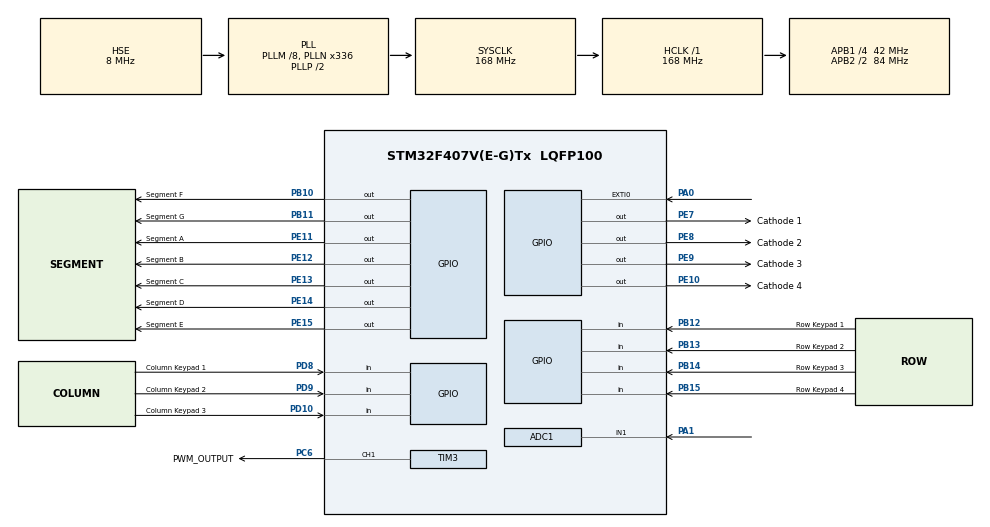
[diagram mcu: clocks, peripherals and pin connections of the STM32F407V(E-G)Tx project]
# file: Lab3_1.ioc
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ADC1.Channel-0\#ChannelRegularConversion=ADC_CHANNEL_1
ADC1.ExternalTrigConv=ADC_EXTERNALTRIGCONV_T3_TRGO
ADC1.ExternalTrigConvEdge=ADC_EXTERNALTRIGCONVEDGE_RISINGFALLING
ADC1.NbrOfConversionFlag=1
ADC1.Resolution=ADC_RESOLUTION_8B
ADC1.master=1
Mcu.Family=STM32F4
Mcu.Name=STM32F407V(E-G)Tx
Mcu.Package=LQFP100
NVIC.ADC_IRQn=true\:0\:0\:false\:false\:true\:true
NVIC.EXTI0_IRQn=true\:0\:0\:false\:false\:true\:true
NVIC.PriorityGroup=NVIC_PRIORITYGROUP_0
NVIC.TIM3_IRQn=true\:0\:0\:false\:false\:true\:true
PA0-WKUP.GPIO_ModeDefaultEXTI=GPIO_MODE_IT_RISING
PA0-WKUP.GPIO_PuPd=GPIO_NOPULL
PA0-WKUP.Signal=GPXTI0
PA1.Signal=ADCx_IN1
PA10.GPIO_Mode=GPIO_MODE_AF_PP
PA10.GPIO_PuPd=GPIO_NOPULL
PA10.GPIO_Speed=GPIO_SPEED_FREQ_VERY_HIGH
PA10.Signal=USB_OTG_FS_ID
PA11.GPIO_Mode=GPIO_MODE_AF_PP
PA11.GPIO_PuPd=GPIO_NOPULL
PA11.GPIO_Speed=GPIO_SPEED_FREQ_VERY_HIGH
PA11.Signal=USB_OTG_FS_DM
PA12.GPIO_Mode=GPIO_MODE_AF_PP
PA12.GPIO_PuPd=GPIO_NOPULL
PA12.GPIO_Speed=GPIO_SPEED_FREQ_VERY_HIGH
PA12.Signal=USB_OTG_FS_DP
PA13.Mode=Serial_Wire
PA13.Signal=SYS_JTMS-SWDIO
PA14.Mode=Serial_Wire
PA14.Signal=SYS_JTCK-SWCLK
PA4.GPIO_Mode=GPIO_MODE_AF_PP
PA4.GPIO_PuPd=GPIO_NOPULL
PA4.GPIO_Speed=GPIO_SPEED_FREQ_LOW
PA4.Signal=I2S3_WS
PA5.GPIO_Mode=GPIO_MODE_AF_PP
PA5.GPIO_PuPd=GPIO_NOPULL
PA5.GPIO_Speed=GPIO_SPEED_FREQ_VERY_HIGH
PA5.Signal=SPI1_SCK
PA6.GPIO_Mode=GPIO_MODE_AF_PP
PA6.GPIO_PuPd=GPIO_NOPULL
PA6.GPIO_Speed=GPIO_SPEED_FREQ_VERY_HIGH
PA6.Signal=SPI1_MISO
PA7.GPIO_Mode=GPIO_MODE_AF_PP
PA7.GPIO_PuPd=GPIO_NOPULL
PA7.GPIO_Speed=GPIO_SPEED_FREQ_VERY_HIGH
PA7.Signal=SPI1_MOSI
PA9.GPIO_Mode=GPIO_MODE_INPUT
PA9.GPIO_PuPd=GPIO_NOPULL
PA9.Signal=USB_OTG_FS_VBUS
PB10.GPIO_Label=Segment F
PB10.Signal=GPIO_Output
PB11.GPIO_Label=Segment G
PB11.Signal=GPIO_Output
PB12.GPIO_Label=Row Keypad 1
PB12.Signal=GPIO_Input
PB13.GPIO_Label=Row Keypad 2
PB13.Signal=GPIO_Input
PB14.GPIO_Label=Row Keypad 3
PB14.Signal=GPIO_Input
PB15.GPIO_Label=Row Keypad 4
PB15.Signal=GPIO_Input
PB3.Signal=SYS_JTDO-SWO
PB6.GPIO_Mode=GPIO_MODE_AF_OD
PB6.GPIO_PuPd=GPIO_NOPULL
PB6.GPIO_PuPdOD=GPIO_PULLUP
PB6.GPIO_Speed=GPIO_SPEED_FREQ_VERY_HIGH
PB6.Signal=I2C1_SCL
PB9.GPIO_Mode=GPIO_MODE_AF_OD
PB9.GPIO_PuPd=GPIO_NOPULL
PB9.GPIO_PuPdOD=GPIO_PULLUP
PB9.GPIO_Speed=GPIO_SPEED_FREQ_VERY_HIGH
PB9.Signal=I2C1_SDA
PC10.GPIO_Mode=GPIO_MODE_AF_PP
PC10.GPIO_PuPd=GPIO_NOPULL
PC10.GPIO_Speed=GPIO_SPEED_FREQ_LOW
PC10.Signal=I2S3_CK
PC12.GPIO_Mode=GPIO_MODE_AF_PP
PC12.GPIO_PuPd=GPIO_NOPULL
PC12.GPIO_Speed=GPIO_SPEED_FREQ_LOW
PC12.Signal=I2S3_SD
PC14-OSC32_IN.Signal=RCC_OSC32_IN
PC15-OSC32_OUT.Signal=RCC_OSC32_OUT
PC3.GPIO_Mode=GPIO_MODE_AF_PP
PC3.GPIO_PuPd=GPIO_NOPULL
PC3.GPIO_Speed=GPIO_SPEED_FREQ_LOW
PC3.Signal=I2S2_SD
PC6.GPIO_Label=PWM_OUTPUT
PC6.Signal=S_TIM3_CH1
PC7.GPIO_Mode=GPIO_MODE_AF_PP
PC7.GPIO_PuPd=GPIO_NOPULL
PC7.GPIO_Speed=GPIO_SPEED_FREQ_LOW
PC7.Signal=I2S3_MCK
PD10.GPIO_Label=Column Keypad 3
PD10.Signal=GPIO_Input
PD8.GPIO_Label=Column Keypad 1
PD8.Signal=GPIO_Input
PD9.GPIO_Label=Column Keypad 2
PD9.Signal=GPIO_Input
PE10.GPIO_Label=Cathode 4
PE10.Signal=GPIO_Output
PE11.GPIO_Label=Segment A
PE11.Signal=GPIO_Output
PE12.GPIO_Label=Segment B
PE12.Signal=GPIO_Output
PE13.GPIO_Label=Segment C
PE13.Signal=GPIO_Output
PE14.GPIO_Label=Segment D
PE14.Signal=GPIO_Output
PE15.GPIO_Label=Segment E
PE15.Signal=GPIO_Output
PE7.GPIO_Label=Cathode 1
PE7.Signal=GPIO_Output
PE8.GPIO_Label=Cathode 2
PE8.Signal=GPIO_Output
PE9.GPIO_Label=Cathode 3
PE9.Signal=GPIO_Output
PH0-OSC_IN.Mode=HSE-External-Oscillator
PH0-OSC_IN.Signal=RCC_OSC_IN
PH1-OSC_OUT.Mode=HSE-External-Oscillator
PH1-OSC_OUT.Signal=RCC_OSC_OUT
ProjectManager.HeapSize=0x200
ProjectManager.StackSize=0x400
ProjectManager.TargetToolchain=MDK-ARM V5
RCC.48MHZClocksFreq_Value=48000000
RCC.AHBFreq_Value=168000000
RCC.APB1CLKDivider=RCC_HCLK_DIV4
RCC.APB1Freq_Value=42000000
RCC.APB1TimFreq_Value=84000000
RCC.APB2CLKDivider=RCC_HCLK_DIV2
RCC.APB2Freq_Value=84000000
RCC.APB2TimFreq_Value=168000000
RCC.CortexFreq_Value=168000000
RCC.HCLKFreq_Value=168000000
RCC.HSE_VALUE=8000000
RCC.HSI_VALUE=16000000
RCC.LSE_VALUE=32768
RCC.PLLM=8
RCC.PLLN=336
RCC.PLLQ=7
RCC.PLLSourceVirtual=RCC_PLLSOURCE_HSE
RCC.SYSCLKFreq_VALUE=168000000
RCC.SYSCLKSource=RCC_SYSCLKSOURCE_PLLCLK
RCC.VCOOutputFreq_Value=336000000
SH.ADCx_IN1.0=ADC1_IN1,IN1
SH.S_TIM3_CH1.0=TIM3_CH1,PWM Generation1 CH1
TIM3.Channel-Output\ Compare2\ No\ Output=TIM_CHANNEL_2
TIM3.Channel-PWM\ Generation1\ CH1=TIM_CHANNEL_1
TIM3.OCMode_2=TIM_OCMODE_ACTIVE
TIM3.Prescaler=0
TIM3.TIM_MasterOutputTrigger=TIM_TRGO_UPDATE
VP_TIM3_VS_ClockSourceINT.Mode=Internal
VP_TIM3_VS_no_output2.Mode=Output Compare2 No Output
board=STM32F4DISCOVERY

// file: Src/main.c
/**
  ******************************************************************************
  * @file           : main.c
  * @brief          : Main program body
  ******************************************************************************
  ** This notice applies to any and all portions of this file
  * that are not between comment pairs USER CODE BEGIN and
  * USER CODE END. Other portions of this file, whether
  * inserted by the user or by software development tools
  * are owned by their respective copyright owners.
  *
  * COPYRIGHT(c) 2018 STMicroelectronics
  *
  * Redistribution and use in source and binary forms, with or without modification,
  * are permitted provided that the following conditions are met:
  *   1. Redistributions of source code must retain the above copyright notice,
  *      this list of conditions and the following disclaimer.
  *   2. Redistributions in binary form must reproduce the above copyright notice,
  *      this list of conditions and the following disclaimer in the documentation
  *      and/or other materials provided with the distribution.
  *   3. Neither the name of STMicroelectronics nor the names of its contributors
  *      may be used to endorse or promote products derived from this software
  *      without specific prior written permission.
  *
  * THIS SOFTWARE IS PROVIDED BY THE COPYRIGHT HOLDERS AND CONTRIBUTORS "AS IS"
  * AND ANY EXPRESS OR IMPLIED WARRANTIES, INCLUDING, BUT NOT LIMITED TO, THE
  * IMPLIED WARRANTIES OF MERCHANTABILITY AND FITNESS FOR A PARTICULAR PURPOSE ARE
  * DISCLAIMED. IN NO EVENT SHALL THE COPYRIGHT HOLDER OR CONTRIBUTORS BE LIABLE
  * FOR ANY DIRECT, INDIRECT, INCIDENTAL, SPECIAL, EXEMPLARY, OR CONSEQUENTIAL
  * DAMAGES (INCLUDING, BUT NOT LIMITED TO, PROCUREMENT OF SUBSTITUTE GOODS OR
  * SERVICES; LOSS OF USE, DATA, OR PROFITS; OR BUSINESS INTERRUPTION) HOWEVER
  * CAUSED AND ON ANY THEORY OF LIABILITY, WHETHER IN CONTRACT, STRICT LIABILITY,
  * OR TORT (INCLUDING NEGLIGENCE OR OTHERWISE) ARISING IN ANY WAY OUT OF THE USE
  * OF THIS SOFTWARE, EVEN IF ADVISED OF THE POSSIBILITY OF SUCH DAMAGE.
  *
  ******************************************************************************
  */
#include "main.h"
#include "stm32f4xx_hal.h"
#include "math.h"

ADC_HandleTypeDef hadc1;
TIM_HandleTypeDef htim3;

/* USER CODE BEGIN PV */
/* Private variables ---------------------------------------------------------*/
uint32_t adcConversion = 0;
int buttonPressed;
int buttonPressedOld;
int keypadMatrix[3][4] = {{1,4,7,10}, {2,5,8,0},{3,6,9,11}}; //10 = star, 11 = pound
int state; //state for keypad
float mathInput;
float mathOutput;
int x[5] = {0};
float rms_value = 0;
float filterOutput;
int keyReadTrigger; //timer for debouncing for keypad
int displaySwitchTrigger; //triggers the switch between LEDs
int ledPosition;
int modeFlag;
int outputDigits[4];
int keyValid = 0; //flag for normal key
int sleepKey = 0; //flag for putting keypad to sleep or waking up
int restartKey = 0; //flag for restarting keypad
int holdCount = 0; //timer for restarting keypad
int sleepCount = 0; //timer for putting keypad to sleep or waking up
float controllerTarget;
float error;
int pulseWidth;

/* USER CODE END PV */

void SystemClock_Config(void);
static void MX_GPIO_Init(void);
static void MX_ADC1_Init(void);
static void MX_TIM3_Init(void);

void HAL_TIM_MspPostInit(TIM_HandleTypeDef *htim);

/* USER CODE BEGIN PFP */
/* Private function prototypes -----------------------------------------------*/
void pwmSetValue(uint16_t pulseValue);
int getKeypadValue(void);
void valueParse(float mathOutput);
void c_math(float input);
void FIR_C(uint32_t input, float* filterOutput);
void pwmController(float input, float output);

/* USER CODE END PFP */

int main(void)
{

  /* MCU Configuration----------------------------------------------------------*/

  /* Reset of all peripherals, Initializes the Flash interface and the Systick. */
  HAL_Init();

  /* Configure the system clock */
  SystemClock_Config();

  /* Initialize all configured peripherals */
  MX_GPIO_Init();
  MX_ADC1_Init();
  MX_TIM3_Init();
  /* USER CODE BEGIN 2 */

	/* Start timer for PWM generation */
	HAL_TIM_PWM_Start(&htim3, TIM_CHANNEL_1);
	/* Start ADC interrupt triggered by timer */
	HAL_ADC_Start_IT(&hadc1);

  /* USER CODE END 2 */
	state = 1;

  /* Infinite loop */
  /* USER CODE BEGIN WHILE */
  while (1)
  {
		switch(state) {
			case 0: //sleep mode
				//HAL_TIM_PWM_Stop(&htim3,TIM_CHANNEL_1);
				modeFlag = 0;
				/* if pound held and sleep flag is on, turn on keypad */
				if(getKeypadValue() == 11 && keyValid && sleepKey) {
					sleepKey = 0;
					keyValid = 0;
					state = 1;
					//HAL_TIM_PWM_Start(&htim3,TIM_CHANNEL_1);
				}
				break;
			case 1: //awake (reset) mode
				modeFlag = 1;
				//reset all LEDs to 0
				outputDigits[0] =0;
				outputDigits[1] =0;
				outputDigits[2] =0;
				outputDigits[3] =0;
				/* if a key between 0-9 has been pressed, move to next state (first digit inputted) */
				if(getKeypadValue()>-1 && getKeypadValue() < 10 && keyValid) {
					buttonPressed = getKeypadValue();
					keyValid = 0;
					state = 2;
				}
				/* if star held and sleep flag is on, turn off keypad */
				else if(getKeypadValue() == 10 && keyValid && sleepKey) {
					sleepKey = 0;
					keyValid = 0;
					state = 0;
				}
				break;
			case 2: //first digit
				modeFlag = 1;
				/* input button pressed from state 1 into last digit */
				outputDigits[0] =0;
				outputDigits[1] =0;
				outputDigits[2] =0;
				outputDigits[3] = buttonPressed;
				/* if star held and sleep flag is on, turn off keypad */
				if(getKeypadValue() == 10 && keyValid && sleepKey) {
					sleepKey = 0;
					keyValid = 0;
					state = 0;
				}
				/* if star held and restart flag is on, go to state 1 to reset keypad */
				else if(getKeypadValue() == 10 && keyValid && restartKey) {
					restartKey = 0;
					keyValid = 0;
					state = 1;
				}
				/* if star pressed, delete inputted value by returning to reset state */
				else if(getKeypadValue() == 10 && keyValid) {
					keyValid = 0;
					state = 1;
				}
				/* if a key between 0-9 has been pressed, move to next state (second digit inputted) */
				else if(getKeypadValue()>-1 && getKeypadValue() < 10 && keyValid) {
					buttonPressedOld = buttonPressed;
					buttonPressed = getKeypadValue();
					keyValid = 0;
					state = 3;
				}
				break;
			case 3: //second digit
				modeFlag = 1;
				/* input button pressed from state 1 into third digit and input button from state 2 into last digit */
				outputDigits[0] =0;
				outputDigits[1] =0;
				outputDigits[2] = buttonPressedOld;
				outputDigits[3] = buttonPressed;
				/* if star held and sleep flag is on, turn off keypad */
				if(getKeypadValue() == 10 && keyValid && sleepKey) {
					keyValid = 0;
					sleepKey = 0;
					state = 0;
				}
				/* if star held and restart flag is on, reset keypad by moving to state 1*/
				else if(getKeypadValue() == 10 && keyValid && restartKey) {
					keyValid = 0;
					restartKey = 0;
					state = 1;
				}
				/* if star pressed, delete inputted value by returning to reset state */
				else if(getKeypadValue() == 10 && keyValid) {
					buttonPressed = buttonPressedOld;
					keyValid = 0;
					state = 2;
				}
				/* if pound pressed, move to state 4 to submit value */
				else if(getKeypadValue() == 11 && keyValid) {
					keyValid = 0;
					state = 4;
				}
				break;
			case 4:
				/* submit user inputte value to controller */
				mathInput = (float) (outputDigits[2] + (outputDigits[3]/10.0));
				pwmController(mathInput, mathOutput);
				/* if star held and sleep flag is on, turn off keypad */
				if(getKeypadValue() == 10 && keyValid && sleepKey) {
					keyValid = 0;
					sleepKey = 0;
					state = 0;
				}
				/* if star held and restart flag is on, reset keypad by moving to state 1*/
				else if(getKeypadValue() == 10 && keyValid && restartKey) {
					keyValid = 0;
					sleepKey = 0;
					state = 1;
				}
				break;
			}

  /* USER CODE END WHILE */

	}

}

void SystemClock_Config(void)
{

  RCC_OscInitTypeDef RCC_OscInitStruct;
  RCC_ClkInitTypeDef RCC_ClkInitStruct;

    /**Configure the main internal regulator output voltage
    */
  __HAL_RCC_PWR_CLK_ENABLE();

  __HAL_PWR_VOLTAGESCALING_CONFIG(PWR_REGULATOR_VOLTAGE_SCALE1);

    /**Initializes the CPU, AHB and APB busses clocks
    */
  RCC_OscInitStruct.OscillatorType = RCC_OSCILLATORTYPE_HSE;
  RCC_OscInitStruct.HSEState = RCC_HSE_ON;
  RCC_OscInitStruct.PLL.PLLState = RCC_PLL_ON;
  RCC_OscInitStruct.PLL.PLLSource = RCC_PLLSOURCE_HSE;
  RCC_OscInitStruct.PLL.PLLM = 8;
  RCC_OscInitStruct.PLL.PLLN = 336;
  RCC_OscInitStruct.PLL.PLLP = RCC_PLLP_DIV2;
  RCC_OscInitStruct.PLL.PLLQ = 7;
  if (HAL_RCC_OscConfig(&RCC_OscInitStruct) != HAL_OK)
  {
    _Error_Handler(__FILE__, __LINE__);
  }

    /**Initializes the CPU, AHB and APB busses clocks
    */
  RCC_ClkInitStruct.ClockType = RCC_CLOCKTYPE_HCLK|RCC_CLOCKTYPE_SYSCLK
                              |RCC_CLOCKTYPE_PCLK1|RCC_CLOCKTYPE_PCLK2;
  RCC_ClkInitStruct.SYSCLKSource = RCC_SYSCLKSOURCE_PLLCLK;
  RCC_ClkInitStruct.AHBCLKDivider = RCC_SYSCLK_DIV1;
  RCC_ClkInitStruct.APB1CLKDivider = RCC_HCLK_DIV4;
  RCC_ClkInitStruct.APB2CLKDivider = RCC_HCLK_DIV2;

  if (HAL_RCC_ClockConfig(&RCC_ClkInitStruct, FLASH_LATENCY_5) != HAL_OK)
  {
    _Error_Handler(__FILE__, __LINE__);
  }

    /**Configure the Systick interrupt time
    */
  HAL_SYSTICK_Config(HAL_RCC_GetHCLKFreq()/1000);

    /**Configure the Systick
    */
  HAL_SYSTICK_CLKSourceConfig(SYSTICK_CLKSOURCE_HCLK);

  /* SysTick_IRQn interrupt configuration */
  HAL_NVIC_SetPriority(SysTick_IRQn, 0, 0);
}

/* ADC1 init function */
static void MX_ADC1_Init(void)
{

  ADC_ChannelConfTypeDef sConfig;

    /**Configure the global features of the ADC (Clock, Resolution, Data Alignment and number of conversion)
    */
  hadc1.Instance = ADC1;
  hadc1.Init.ClockPrescaler = ADC_CLOCK_SYNC_PCLK_DIV4;
  hadc1.Init.Resolution = ADC_RESOLUTION_8B;
  hadc1.Init.ScanConvMode = DISABLE;
  hadc1.Init.ContinuousConvMode = DISABLE;
  hadc1.Init.DiscontinuousConvMode = DISABLE;
  hadc1.Init.ExternalTrigConvEdge = ADC_EXTERNALTRIGCONVEDGE_RISINGFALLING; /*set to trigger on rising and falling so frequency of ADC sampling is twice the frequency of the PWM generation */
  hadc1.Init.ExternalTrigConv = ADC_EXTERNALTRIGCONV_T3_TRGO; /*triggered by Timer 3 event */
  hadc1.Init.DataAlign = ADC_DATAALIGN_RIGHT;
  hadc1.Init.NbrOfConversion = 1;
  hadc1.Init.DMAContinuousRequests = DISABLE;
  hadc1.Init.EOCSelection = ADC_EOC_SINGLE_CONV;
  if (HAL_ADC_Init(&hadc1) != HAL_OK)
  {
    _Error_Handler(__FILE__, __LINE__);
  }

    /**Configure for the selected ADC regular channel its corresponding rank in the sequencer and its sample time.
    */
  sConfig.Channel = ADC_CHANNEL_1;
  sConfig.Rank = 1;
  sConfig.SamplingTime = ADC_SAMPLETIME_3CYCLES;
  if (HAL_ADC_ConfigChannel(&hadc1, &sConfig) != HAL_OK)
  {
    _Error_Handler(__FILE__, __LINE__);
  }

}

/* TIM3 init function */
static void MX_TIM3_Init(void)
{

  TIM_ClockConfigTypeDef sClockSourceConfig;
  TIM_MasterConfigTypeDef sMasterConfig;
  TIM_OC_InitTypeDef sConfigOC;

  htim3.Instance = TIM3;
  htim3.Init.Prescaler = 0;
  htim3.Init.CounterMode = TIM_COUNTERMODE_UP;
  htim3.Init.Period = 8399; /* gives frequency of 10 kHz by: 84 MHz/10 kHz - 1 = 8399 (where 84 MHz comes from APB1 timer)*/
  htim3.Init.ClockDivision = TIM_CLOCKDIVISION_DIV1;
  if (HAL_TIM_Base_Init(&htim3) != HAL_OK)
  {
    _Error_Handler(__FILE__, __LINE__);
  }

  sClockSourceConfig.ClockSource = TIM_CLOCKSOURCE_INTERNAL;
  if (HAL_TIM_ConfigClockSource(&htim3, &sClockSourceConfig) != HAL_OK)
  {
    _Error_Handler(__FILE__, __LINE__);
  }

  if (HAL_TIM_PWM_Init(&htim3) != HAL_OK)
  {
    _Error_Handler(__FILE__, __LINE__);
  }

  if (HAL_TIM_OC_Init(&htim3) != HAL_OK)
  {
    _Error_Handler(__FILE__, __LINE__);
  }

  sMasterConfig.MasterOutputTrigger = TIM_TRGO_UPDATE; /*triggers on update event*/
  sMasterConfig.MasterSlaveMode = TIM_MASTERSLAVEMODE_DISABLE;
  if (HAL_TIMEx_MasterConfigSynchronization(&htim3, &sMasterConfig) != HAL_OK)
  {
    _Error_Handler(__FILE__, __LINE__);
  }

  sConfigOC.OCMode = TIM_OCMODE_PWM1;
  sConfigOC.Pulse = 0;
  sConfigOC.OCPolarity = TIM_OCPOLARITY_HIGH;
  sConfigOC.OCFastMode = TIM_OCFAST_DISABLE;
  if (HAL_TIM_PWM_ConfigChannel(&htim3, &sConfigOC, TIM_CHANNEL_1) != HAL_OK)
  {
    _Error_Handler(__FILE__, __LINE__);
  }

  sConfigOC.OCMode = TIM_OCMODE_ACTIVE; /*output compare for ADC sampling*/
  if (HAL_TIM_OC_ConfigChannel(&htim3, &sConfigOC, TIM_CHANNEL_2) != HAL_OK)
  {
    _Error_Handler(__FILE__, __LINE__);
  }

  HAL_TIM_MspPostInit(&htim3);

}

/** Configure pins as
        * Analog
        * Input
        * Output
        * EVENT_OUT
        * EXTI
     PC3   ------> I2S2_SD
     PA4   ------> I2S3_WS
     PA5   ------> SPI1_SCK
     PA6   ------> SPI1_MISO
     PA7   ------> SPI1_MOSI
     PC7   ------> I2S3_MCK
     PA9   ------> USB_OTG_FS_VBUS
     PA10   ------> USB_OTG_FS_ID
     PA11   ------> USB_OTG_FS_DM
     PA12   ------> USB_OTG_FS_DP
     PC10   ------> I2S3_CK
     PC12   ------> I2S3_SD
     PB6   ------> I2C1_SCL
     PB9   ------> I2C1_SDA
*/
static void MX_GPIO_Init(void)
{

  GPIO_InitTypeDef GPIO_InitStruct;

  /* GPIO Ports Clock Enable */
  __HAL_RCC_GPIOC_CLK_ENABLE();
  __HAL_RCC_GPIOH_CLK_ENABLE();
  __HAL_RCC_GPIOA_CLK_ENABLE();
  __HAL_RCC_GPIOE_CLK_ENABLE();
  __HAL_RCC_GPIOB_CLK_ENABLE();
  __HAL_RCC_GPIOD_CLK_ENABLE();

  /*Configure GPIO pin Output Level */
  HAL_GPIO_WritePin(GPIOE, GPIO_PIN_7|GPIO_PIN_8|GPIO_PIN_9|GPIO_PIN_10
                          |GPIO_PIN_11|GPIO_PIN_12|GPIO_PIN_13|GPIO_PIN_14
                          |GPIO_PIN_15, GPIO_PIN_RESET);

  /*Configure GPIO pin Output Level */
	HAL_GPIO_WritePin(GPIOB, GPIO_PIN_10|GPIO_PIN_11, GPIO_PIN_RESET);

  /*Configure GPIO pin : PC3 */
  GPIO_InitStruct.Pin = GPIO_PIN_3;
  GPIO_InitStruct.Mode = GPIO_MODE_AF_PP;
  GPIO_InitStruct.Pull = GPIO_NOPULL;
  GPIO_InitStruct.Speed = GPIO_SPEED_FREQ_LOW;
  GPIO_InitStruct.Alternate = GPIO_AF5_SPI2;
  HAL_GPIO_Init(GPIOC, &GPIO_InitStruct);

  /*Configure GPIO pin : PA0 */
  GPIO_InitStruct.Pin = GPIO_PIN_0;
  GPIO_InitStruct.Mode = GPIO_MODE_IT_RISING;
  GPIO_InitStruct.Pull = GPIO_NOPULL;
  HAL_GPIO_Init(GPIOA, &GPIO_InitStruct);

  /*Configure GPIO pin : PA4 */
  GPIO_InitStruct.Pin = GPIO_PIN_4;
  GPIO_InitStruct.Mode = GPIO_MODE_AF_PP;
  GPIO_InitStruct.Pull = GPIO_NOPULL;
  GPIO_InitStruct.Speed = GPIO_SPEED_FREQ_LOW;
  GPIO_InitStruct.Alternate = GPIO_AF6_SPI3;
  HAL_GPIO_Init(GPIOA, &GPIO_InitStruct);

  /*Configure GPIO pins : PA5 PA6 PA7 */
  GPIO_InitStruct.Pin = GPIO_PIN_5|GPIO_PIN_6|GPIO_PIN_7;
  GPIO_InitStruct.Mode = GPIO_MODE_AF_PP;
  GPIO_InitStruct.Pull = GPIO_NOPULL;
  GPIO_InitStruct.Speed = GPIO_SPEED_FREQ_VERY_HIGH;
  GPIO_InitStruct.Alternate = GPIO_AF5_SPI1;
  HAL_GPIO_Init(GPIOA, &GPIO_InitStruct);

  /*Configure GPIO pins : Cathode_1_Pin Cathode_2_Pin Cathode_3_Pin Cathode_4_Pin
                           Segment_A_Pin Segment_B_Pin Segment_C_Pin Segment_D_Pin
                           Segment_E_Pin */
  GPIO_InitStruct.Pin = GPIO_PIN_7|GPIO_PIN_8|GPIO_PIN_9|GPIO_PIN_10
                          |GPIO_PIN_11|GPIO_PIN_12|GPIO_PIN_13|GPIO_PIN_14
                          |GPIO_PIN_15;
  GPIO_InitStruct.Mode = GPIO_MODE_OUTPUT_PP;
  GPIO_InitStruct.Pull = GPIO_NOPULL;
  GPIO_InitStruct.Speed = GPIO_SPEED_FREQ_LOW;
  HAL_GPIO_Init(GPIOE, &GPIO_InitStruct);

  /*Configure GPIO pins : Segment_F_Pin Segment_G_Pin */
  GPIO_InitStruct.Pin = GPIO_PIN_10|GPIO_PIN_11;
  GPIO_InitStruct.Mode = GPIO_MODE_OUTPUT_PP;
  GPIO_InitStruct.Pull = GPIO_NOPULL;
  GPIO_InitStruct.Speed = GPIO_SPEED_FREQ_LOW;
  HAL_GPIO_Init(GPIOB, &GPIO_InitStruct);

  /*Configure GPIO pins : Row_Keypad_1_Pin Row_Keypad_2_Pin Row_Keypad_3_Pin Row_Keypad_4_Pin */
  GPIO_InitStruct.Pin = GPIO_PIN_12|GPIO_PIN_13|GPIO_PIN_14|GPIO_PIN_15;
  GPIO_InitStruct.Mode = GPIO_MODE_OUTPUT_PP;
  GPIO_InitStruct.Pull = GPIO_NOPULL;
	GPIO_InitStruct.Speed = GPIO_SPEED_FREQ_LOW;
  HAL_GPIO_Init(GPIOB, &GPIO_InitStruct);

  /*Configure GPIO pins : Column_Keypad_1_Pin Column_Keypad_2_Pin Column_Keypad_3_Pin */
  GPIO_InitStruct.Pin = GPIO_PIN_8|GPIO_PIN_9|GPIO_PIN_10;
  GPIO_InitStruct.Mode = GPIO_MODE_INPUT;
  GPIO_InitStruct.Pull = GPIO_PULLDOWN; /* pulldown to detect change in logic when button pressed */
  HAL_GPIO_Init(GPIOD, &GPIO_InitStruct);

  /*Configure GPIO pins : PC7 PC10 PC12 */
  GPIO_InitStruct.Pin = GPIO_PIN_7|GPIO_PIN_10|GPIO_PIN_12;
  GPIO_InitStruct.Mode = GPIO_MODE_AF_PP;
  GPIO_InitStruct.Pull = GPIO_NOPULL;
  GPIO_InitStruct.Speed = GPIO_SPEED_FREQ_LOW;
  GPIO_InitStruct.Alternate = GPIO_AF6_SPI3;
  HAL_GPIO_Init(GPIOC, &GPIO_InitStruct);

  /*Configure GPIO pin : PA9 */
  GPIO_InitStruct.Pin = GPIO_PIN_9;
  GPIO_InitStruct.Mode = GPIO_MODE_INPUT;
  GPIO_InitStruct.Pull = GPIO_NOPULL;
  HAL_GPIO_Init(GPIOA, &GPIO_InitStruct);

  /*Configure GPIO pins : PA10 PA11 PA12 */
  GPIO_InitStruct.Pin = GPIO_PIN_10|GPIO_PIN_11|GPIO_PIN_12;
  GPIO_InitStruct.Mode = GPIO_MODE_AF_PP;
  GPIO_InitStruct.Pull = GPIO_NOPULL;
  GPIO_InitStruct.Speed = GPIO_SPEED_FREQ_VERY_HIGH;
  GPIO_InitStruct.Alternate = GPIO_AF10_OTG_FS;
  HAL_GPIO_Init(GPIOA, &GPIO_InitStruct);

  /*Configure GPIO pins : PB6 PB9 */
  GPIO_InitStruct.Pin = GPIO_PIN_6|GPIO_PIN_9;
  GPIO_InitStruct.Mode = GPIO_MODE_AF_OD;
  GPIO_InitStruct.Pull = GPIO_PULLUP;
  GPIO_InitStruct.Speed = GPIO_SPEED_FREQ_VERY_HIGH;
  GPIO_InitStruct.Alternate = GPIO_AF4_I2C1;
  HAL_GPIO_Init(GPIOB, &GPIO_InitStruct);

  /* EXTI interrupt init*/
  HAL_NVIC_SetPriority(EXTI0_IRQn, 0, 0);
  HAL_NVIC_EnableIRQ(EXTI0_IRQn);

}

/* USER CODE BEGIN 4 */

/**
  * @brief  Retrive ADC conversion value and put through filter and RMS calculation
  * @param  hadc: pointer to ADC handler
  * @retval None
  */
void HAL_ADC_ConvCpltCallback(ADC_HandleTypeDef* hadc){

	adcConversion = HAL_ADC_GetValue(hadc);

	FIR_C(adcConversion, &filterOutput);

	filterOutput = filterOutput * 3.0 / 255.0; /* 8bit conversion, Vref at 3V */

	c_math(filterOutput);

}

/**
  * @brief  Filter inputted value from ADC conversion
	* @param  input: value from ADC conversion
	* @param 	output: pointer to array of outputted filter values
  * @retval None
  */
void FIR_C(uint32_t input, float *output) {

	float coefficients[5] = {0.2,0.2,0.2,0.2,0.2};
	/* moving window */
	for(int i = 0; i < 4; i++){
		x[i] = x[i+1];
	}
	/* set new input to final value in window */
	x[4] = input;
	float returnedOutput = 0;
	/* sum of products of coefficient and input */
	for(int i = 0; i < 5; i++){
		returnedOutput += x[i] * coefficients[4-i];
	}
	*output = returnedOutput;
}

/**
  * @brief  RMS calculation
  * @param  input: value from filter output
  * @retval None
  */
void c_math(float input){
	static int mathCounter;

	rms_value += input*input;
	/*increment for every rms_value to find length*/
	mathCounter++;

	/*rms is square root of (sum of squares divided by length)*/
	mathOutput = (float) (sqrt(rms_value/((float)(mathCounter))));

}

/**
  * @brief  Parsing of values returned from RMS calculation for display on LED display
	* @param  mathOutput: value returned from RMS calculation
  * @retval None
  */
void valueParse(float mathOutput){

	/* first, second, third and fourth digit from RMS calculation */
	int firstDigit, secondDigit, thirdDigit, fourthDigit = 0;

	float temp = mathOutput;

	/*parse first, second and third digits in calculated value*/
	firstDigit = (int) (temp);
	secondDigit = (int) ((temp - (float)(firstDigit)) * 10.0f);
	thirdDigit = (int) ((((temp - (float)(firstDigit)) * 10.0f) - (float)(secondDigit)) * 10.0f);
	fourthDigit = (int) ((((((temp - (float)(firstDigit)) * 10.0f) - (float)(secondDigit)) * 10.0f - (float)(thirdDigit))) * 10.0f);

	/*set digits to output variables for LED display	*/
	outputDigits[0] = firstDigit;
	outputDigits[1] = secondDigit;
	outputDigits[2] = thirdDigit;
	outputDigits[3] = fourthDigit;
}

/**
  * @brief  Setup for LED display
	* @param  ledPos: position of value to be displayed (1, 2, 3 or 4)
	*	@param	number: number to be displayed
	* @param	modeFlag: sleep or awake mode (from keypad state)
  * @retval None
  */
void ledDriver(int ledPos, int number, int modeFlag){
	if(modeFlag == 1) {
		if(number == 0){
				HAL_GPIO_WritePin(SEGMENT_A, GPIO_PIN_SET);
				HAL_GPIO_WritePin(SEGMENT_B, GPIO_PIN_SET);
				HAL_GPIO_WritePin(SEGMENT_C, GPIO_PIN_SET);
				HAL_GPIO_WritePin(SEGMENT_D, GPIO_PIN_SET);
				HAL_GPIO_WritePin(SEGMENT_E, GPIO_PIN_SET);
				HAL_GPIO_WritePin(SEGMENT_F, GPIO_PIN_SET);
				HAL_GPIO_WritePin(SEGMENT_G, GPIO_PIN_RESET);
		}
		else if(number == 1){
				HAL_GPIO_WritePin(SEGMENT_A, GPIO_PIN_RESET);
				HAL_GPIO_WritePin(SEGMENT_B, GPIO_PIN_SET);
				HAL_GPIO_WritePin(SEGMENT_C, GPIO_PIN_SET);
				HAL_GPIO_WritePin(SEGMENT_D, GPIO_PIN_RESET);
				HAL_GPIO_WritePin(SEGMENT_E, GPIO_PIN_RESET);
				HAL_GPIO_WritePin(SEGMENT_F, GPIO_PIN_RESET);
				HAL_GPIO_WritePin(SEGMENT_G, GPIO_PIN_RESET);
		}
		else if(number == 2){
				HAL_GPIO_WritePin(SEGMENT_A, GPIO_PIN_SET);
				HAL_GPIO_WritePin(SEGMENT_B, GPIO_PIN_SET);
				HAL_GPIO_WritePin(SEGMENT_C, GPIO_PIN_RESET);
				HAL_GPIO_WritePin(SEGMENT_D, GPIO_PIN_SET);
				HAL_GPIO_WritePin(SEGMENT_E, GPIO_PIN_SET);
				HAL_GPIO_WritePin(SEGMENT_F, GPIO_PIN_RESET);
				HAL_GPIO_WritePin(SEGMENT_G, GPIO_PIN_SET);
		}
		else if(number == 3){
				HAL_GPIO_WritePin(SEGMENT_A, GPIO_PIN_SET);
				HAL_GPIO_WritePin(SEGMENT_B, GPIO_PIN_SET);
				HAL_GPIO_WritePin(SEGMENT_C, GPIO_PIN_SET);
				HAL_GPIO_WritePin(SEGMENT_D, GPIO_PIN_SET);
				HAL_GPIO_WritePin(SEGMENT_E, GPIO_PIN_RESET);
				HAL_GPIO_WritePin(SEGMENT_F, GPIO_PIN_RESET);
				HAL_GPIO_WritePin(SEGMENT_G, GPIO_PIN_SET);
		}
		else if(number == 4){
				HAL_GPIO_WritePin(SEGMENT_A, GPIO_PIN_RESET);
				HAL_GPIO_WritePin(SEGMENT_B, GPIO_PIN_SET);
				HAL_GPIO_WritePin(SEGMENT_C, GPIO_PIN_SET);
				HAL_GPIO_WritePin(SEGMENT_D, GPIO_PIN_RESET);
				HAL_GPIO_WritePin(SEGMENT_E, GPIO_PIN_RESET);
				HAL_GPIO_WritePin(SEGMENT_F, GPIO_PIN_SET);
				HAL_GPIO_WritePin(SEGMENT_G, GPIO_PIN_SET);
		}
		else if(number == 5){
				HAL_GPIO_WritePin(SEGMENT_A, GPIO_PIN_SET);
				HAL_GPIO_WritePin(SEGMENT_B, GPIO_PIN_RESET);
				HAL_GPIO_WritePin(SEGMENT_C, GPIO_PIN_SET);
				HAL_GPIO_WritePin(SEGMENT_D, GPIO_PIN_SET);
				HAL_GPIO_WritePin(SEGMENT_E, GPIO_PIN_RESET);
				HAL_GPIO_WritePin(SEGMENT_F, GPIO_PIN_SET);
				HAL_GPIO_WritePin(SEGMENT_G, GPIO_PIN_SET);
		}
		else if(number == 6){
				HAL_GPIO_WritePin(SEGMENT_A, GPIO_PIN_SET);
				HAL_GPIO_WritePin(SEGMENT_B, GPIO_PIN_RESET);
				HAL_GPIO_WritePin(SEGMENT_C, GPIO_PIN_SET);
				HAL_GPIO_WritePin(SEGMENT_D, GPIO_PIN_SET);
				HAL_GPIO_WritePin(SEGMENT_E, GPIO_PIN_SET);
				HAL_GPIO_WritePin(SEGMENT_F, GPIO_PIN_SET);
				HAL_GPIO_WritePin(SEGMENT_G, GPIO_PIN_SET);
		}
		else if(number == 7){
				HAL_GPIO_WritePin(SEGMENT_A, GPIO_PIN_SET);
				HAL_GPIO_WritePin(SEGMENT_B, GPIO_PIN_SET);
				HAL_GPIO_WritePin(SEGMENT_C, GPIO_PIN_SET);
				HAL_GPIO_WritePin(SEGMENT_D, GPIO_PIN_RESET);
				HAL_GPIO_WritePin(SEGMENT_E, GPIO_PIN_RESET);
				HAL_GPIO_WritePin(SEGMENT_F, GPIO_PIN_RESET);
				HAL_GPIO_WritePin(SEGMENT_G, GPIO_PIN_RESET);
		}
		else if(number == 8){
				HAL_GPIO_WritePin(SEGMENT_A, GPIO_PIN_SET);
				HAL_GPIO_WritePin(SEGMENT_B, GPIO_PIN_SET);
				HAL_GPIO_WritePin(SEGMENT_C, GPIO_PIN_SET);
				HAL_GPIO_WritePin(SEGMENT_D, GPIO_PIN_SET);
				HAL_GPIO_WritePin(SEGMENT_E, GPIO_PIN_SET);
				HAL_GPIO_WritePin(SEGMENT_F, GPIO_PIN_SET);
				HAL_GPIO_WritePin(SEGMENT_G, GPIO_PIN_SET);
		}
		else if(number == 9){
				HAL_GPIO_WritePin(SEGMENT_A, GPIO_PIN_SET);
				HAL_GPIO_WritePin(SEGMENT_B, GPIO_PIN_SET);
				HAL_GPIO_WritePin(SEGMENT_C, GPIO_PIN_SET);
				HAL_GPIO_WritePin(SEGMENT_D, GPIO_PIN_SET);
				HAL_GPIO_WritePin(SEGMENT_E, GPIO_PIN_RESET);
				HAL_GPIO_WritePin(SEGMENT_F, GPIO_PIN_SET);
				HAL_GPIO_WritePin(SEGMENT_G, GPIO_PIN_SET);
		}
		if(ledPos == 0){
			HAL_GPIO_WritePin(CATHODE_1, GPIO_PIN_SET);
			HAL_GPIO_WritePin(CATHODE_2, GPIO_PIN_RESET);
			HAL_GPIO_WritePin(CATHODE_3, GPIO_PIN_RESET);
			HAL_GPIO_WritePin(CATHODE_4, GPIO_PIN_RESET);
		}
		else if(ledPos == 1){ //position (X)XX
				HAL_GPIO_WritePin(CATHODE_1, GPIO_PIN_RESET);
				HAL_GPIO_WritePin(CATHODE_2, GPIO_PIN_SET);
				HAL_GPIO_WritePin(CATHODE_3, GPIO_PIN_RESET);
				HAL_GPIO_WritePin(CATHODE_4, GPIO_PIN_RESET);
		}
		else if(ledPos == 2){		//position X(X)X
				HAL_GPIO_WritePin(CATHODE_1, GPIO_PIN_RESET);
				HAL_GPIO_WritePin(CATHODE_2, GPIO_PIN_RESET);
				HAL_GPIO_WritePin(CATHODE_3, GPIO_PIN_SET);
				HAL_GPIO_WritePin(CATHODE_4, GPIO_PIN_RESET);
		}
		else if(ledPos == 3){//position XX(X)
				HAL_GPIO_WritePin(CATHODE_1, GPIO_PIN_RESET);
				HAL_GPIO_WritePin(CATHODE_2, GPIO_PIN_RESET);
				HAL_GPIO_WritePin(CATHODE_3, GPIO_PIN_RESET);
				HAL_GPIO_WritePin(CATHODE_4, GPIO_PIN_SET);
		}
	}
	/* if sleep mode: turn off cathodes to turn off display */
	else if(modeFlag == 0) {
		HAL_GPIO_WritePin(CATHODE_1, GPIO_PIN_RESET);
		HAL_GPIO_WritePin(CATHODE_2, GPIO_PIN_RESET);
		HAL_GPIO_WritePin(CATHODE_3, GPIO_PIN_RESET);
		HAL_GPIO_WritePin(CATHODE_4, GPIO_PIN_RESET);
	}
}

/**
  * @brief  Get user inputted value from keypad
  * @param  None
  * @retval User inputted value from keypad
  */
int getKeypadValue(){

	int valueReturned = -1;

	static int counter = 0;
	/*go through rows and turn each one on, then check columns for input*/
	for(counter =0; counter< 4; counter++) {
		if (counter == 0){

			HAL_GPIO_WritePin(ROW_1, GPIO_PIN_SET );
			HAL_GPIO_WritePin(ROW_2, GPIO_PIN_RESET );
			HAL_GPIO_WritePin(ROW_3, GPIO_PIN_RESET );
			HAL_GPIO_WritePin(ROW_4, GPIO_PIN_RESET );

		}

		else if (counter == 1) {

			HAL_GPIO_WritePin(ROW_1, GPIO_PIN_RESET );
			HAL_GPIO_WritePin(ROW_2, GPIO_PIN_SET );
			HAL_GPIO_WritePin(ROW_3, GPIO_PIN_RESET );
			HAL_GPIO_WritePin(ROW_4, GPIO_PIN_RESET );

		}

		else if (counter == 2){

			HAL_GPIO_WritePin(ROW_1, GPIO_PIN_RESET );
			HAL_GPIO_WritePin(ROW_2, GPIO_PIN_RESET );
			HAL_GPIO_WritePin(ROW_3, GPIO_PIN_SET );
			HAL_GPIO_WritePin(ROW_4, GPIO_PIN_RESET );
		}

		else if (counter == 3){
			HAL_GPIO_WritePin(ROW_1, GPIO_PIN_RESET );
			HAL_GPIO_WritePin(ROW_2, GPIO_PIN_RESET );
			HAL_GPIO_WritePin(ROW_3, GPIO_PIN_RESET );
			HAL_GPIO_WritePin(ROW_4, GPIO_PIN_SET );

		}
		/*read the columns: if column is set to high, that means the button in the output row that is on is being pressed, so return that value*/
		if (HAL_GPIO_ReadPin(COLUMN_1) > 0)
				{valueReturned = keypadMatrix[0][counter]; break;}
		else if (HAL_GPIO_ReadPin(COLUMN_2) > 0)
				{valueReturned = keypadMatrix[1][counter]; break;}
		else if (HAL_GPIO_ReadPin(COLUMN_3) > 0)
				{valueReturned = keypadMatrix[2][counter]; break;}

	}
	return valueReturned;
}

/**
  * @brief  Reconfigure timer for PWM generation and set the pulse width to the output of the controller
	* @param  pulseValue: the pulse width returned from the PWM controller
  * @retval None
  */
void pwmSetValue(uint16_t pulseValue) {

		TIM_OC_InitTypeDef sConfigOC;

    sConfigOC.OCMode = TIM_OCMODE_PWM1;
    sConfigOC.Pulse = pulseValue;
    sConfigOC.OCPolarity = TIM_OCPOLARITY_HIGH;
    sConfigOC.OCFastMode = TIM_OCFAST_DISABLE;

    HAL_TIM_PWM_ConfigChannel(&htim3, &sConfigOC, TIM_CHANNEL_1);
    HAL_TIM_PWM_Start(&htim3, TIM_CHANNEL_1);
}

/**
  * @brief  PWM controller that controls the pulse of the PWM generation depending on user inputted value from keypad
	* @param  input: inputted value from keypad
	*	@param	output: RMS value from filter and c_math
  * @retval None
  */
void pwmController(float input, float output) {

	controllerTarget = input;
	/*calculate error between user inputted value and RMS value from ADC conversion*/
	error = input - output;
	float pValue = 100.0f;

	/*adjust pulseWidth until within 5% of user inputted value*/
	while(error >= 0.05*controllerTarget) {

		/*if user value is higher than RMS value, increase pulse width*/
		if(error > 0 && pulseWidth < 8400) {
			pulseWidth++;
		}
		/*if user value is less than RMS value, decrease pulse width*/
		if(error < 0 && pulseWidth > 0) {
			pulseWidth--;
		}
		pulseWidth = (int) (error * pValue);
		/*set pulse width of PWM generation to the continuously updating result*/
		pwmSetValue(pulseWidth);
		/*update error with every updating pulse width value*/
		error = input-mathOutput;
		/*display value*/
		valueParse(mathOutput);
		/*if at 5% of user inputted value, stop updating*/
		if(error == 0.05*controllerTarget) {
			HAL_ADC_Stop(&hadc1);
			//HAL_TIM_PWM_Stop(&htim3,TIM_CHANNEL_1);
			break;
		}
	}
}
/* USER CODE END 4 */

void _Error_Handler(char *file, int line)
{
  while(1)
  {
  }
}

/************************ (C) COPYRIGHT STMicroelectronics *****END OF FILE****/
